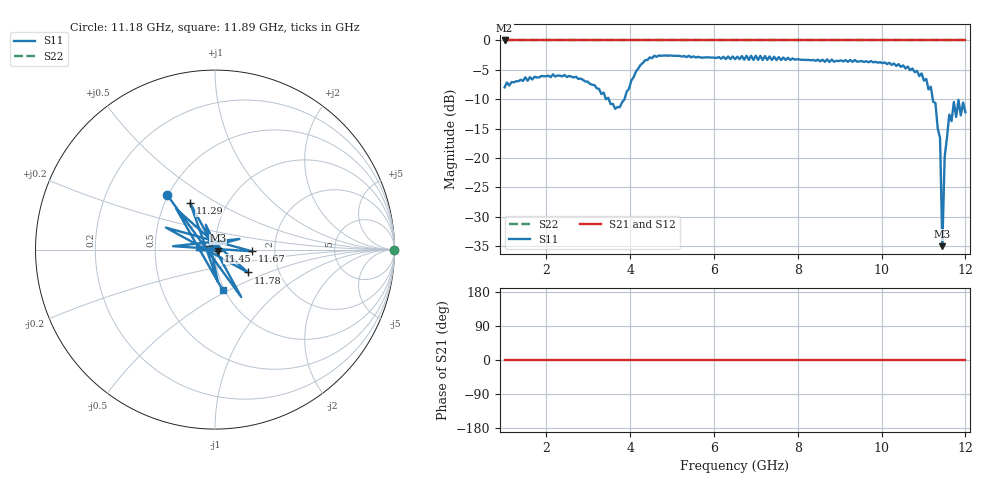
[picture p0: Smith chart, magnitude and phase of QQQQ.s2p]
!Keysight Technologies N9917A: A.08.15
!Date: Sunday, 08 October 2017 11:47:47
!Timezone: (GMT-08:00) Pacific Time (US & Canada)
!Model: N9917A
!Serial: MY53102735
!GPS Latitude:
!GPS Longitude:
!GPS TimeStamp: 0001-01-01 00:00:00Z
!GPS Seconds Since Last Read: 0
!CHECKSUM:1504876975
!Correction: S11(Rdy)S21()S12()S22()
!S2P File: Measurements:S11,S21,S12,S22:
# Hz S DB R 50
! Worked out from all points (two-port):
!   201 points, 1 GHz to 12 GHz, reference 50 ohm
!   highest |S21| = 0.00 dB at 1 GHz (marker M1); lowest = 0.0 dB at 1 GHz (marker M2)
!   |S21| within 3 dB of the highest: start of sweep to end of sweep
!   lowest |S11| = -35.0 dB at 11.45 GHz (marker M3), VSWR 1.04, Z = 51.7 - j0.627 ohm
!   |S11| at or under -10 dB: 3.419491 GHz to 3.422245 GHz (2.754 MHz wide, 0.0805 % of centre); 3.488 GHz to 3.862 GHz (374.3 MHz wide, 10.2 % of centre); 11.22 GHz to end of sweep
!   |S22| runs from 0.0 to 0.0 dB; largest |S21 - S12| = 0
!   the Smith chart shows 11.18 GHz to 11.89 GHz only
!   S11 on the Smith chart (normalised r, x): 11.18 GHz: 0.49, +0.36; 11.29 GHz: 0.67, +0.38; 11.45 GHz: 1.03, -0.01; 11.67 GHz: 1.52, -0.03; 11.78 GHz: 1.39, -0.37; 11.89 GHz: 0.98, -0.47
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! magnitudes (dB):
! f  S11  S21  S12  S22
! 1 GHz  -8.0  0.0  0.0  0.0
! 2.155 GHz  -5.8  0.0  0.0  0.0
! 2.87 GHz  -6.7  0.0  0.0  0.0
! 3.64 GHz  -11.6  0.0  0.0  0.0
! 4.245 GHz  -4.2  0.0  0.0  0.0
! 4.685 GHz  -2.6  0.0  0.0  0.0
! 6.5 GHz  -3.2  0.0  0.0  0.0
! 8.37 GHz  -3.3  0.0  0.0  0.0
! 10.19 GHz  -3.8  0.0  0.0  0.0
! 11.18 GHz  -7.9  0.0  0.0  0.0
! 11.29 GHz  -10.7  0.0  0.0  0.0
! 11.39 GHz  -16.6  0.0  0.0  0.0
! 11.45 GHz  -35.0  0.0  0.0  0.0
! 11.51 GHz  -19.8  0.0  0.0  0.0
! 11.62 GHz  -12.6  0.0  0.0  0.0
! 11.67 GHz  -13.7  0.0  0.0  0.0
! 11.72 GHz  -10.5  0.0  0.0  0.0
! 11.78 GHz  -13.0  0.0  0.0  0.0
! 11.84 GHz  -10.1  0.0  0.0  0.0
! 11.89 GHz  -12.7  0.0  0.0  0.0
! 11.95 GHz  -10.6  0.0  0.0  0.0
! 12 GHz  -12.2  0.0  0.0  0.0
